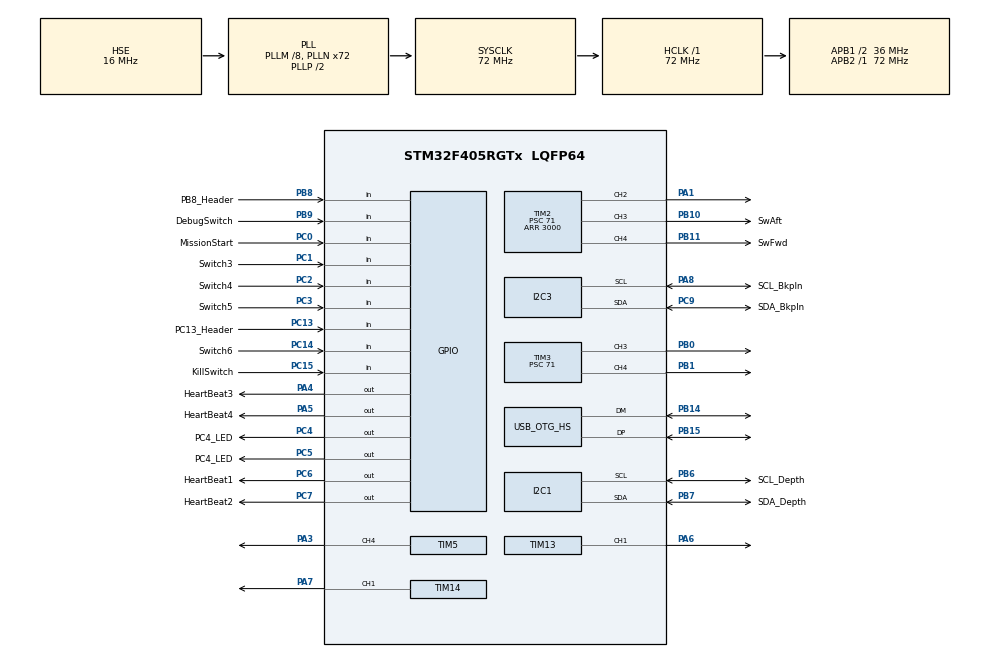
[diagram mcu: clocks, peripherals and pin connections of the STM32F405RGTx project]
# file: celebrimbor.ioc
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FREERTOS.Tasks01=defaultTask,0,128,StartDefaultTask,Default,NULL
Mcu.Family=STM32F4
Mcu.Name=STM32F405RGTx
Mcu.Package=LQFP64
NVIC.OTG_HS_IRQn=true\:5\:0\:false\:false\:true\:true\:false
NVIC.PriorityGroup=NVIC_PRIORITYGROUP_4
NVIC.TIM1_UP_TIM10_IRQn=true\:0\:0\:false\:false\:true\:false\:false
NVIC.TimeBase=TIM1_UP_TIM10_IRQn
NVIC.TimeBaseIP=TIM1
PA1.Signal=S_TIM2_CH2
PA13.Mode=JTAG_5_pins
PA13.Signal=SYS_JTMS-SWDIO
PA14.Mode=JTAG_5_pins
PA14.Signal=SYS_JTCK-SWCLK
PA15.Mode=JTAG_5_pins
PA15.Signal=SYS_JTDI
PA3.Signal=S_TIM5_CH4
PA4.GPIO_Label=HeartBeat3
PA4.Signal=GPIO_Output
PA5.GPIO_Label=HeartBeat4
PA5.Signal=GPIO_Output
PA6.Signal=S_TIM13_CH1
PA7.Signal=S_TIM14_CH1
PA8.GPIO_Label=SCL_Bkpln
PA8.Mode=I2C
PA8.Signal=I2C3_SCL
PB0.Signal=S_TIM3_CH3
PB1.Signal=S_TIM3_CH4
PB10.GPIO_Label=SwAft
PB10.Signal=S_TIM2_CH3
PB11.GPIO_Label=SwFwd
PB11.Signal=S_TIM2_CH4
PB14.Mode=Device_Only_FS
PB14.Signal=USB_OTG_HS_DM
PB15.Mode=Device_Only_FS
PB15.Signal=USB_OTG_HS_DP
PB3.Mode=JTAG_5_pins
PB3.Signal=SYS_JTDO-SWO
PB4.Mode=JTAG_5_pins
PB4.Signal=SYS_JTRST
PB6.GPIO_Label=SCL_Depth
PB6.Mode=I2C
PB6.Signal=I2C1_SCL
PB7.GPIO_Label=SDA_Depth
PB7.Mode=I2C
PB7.Signal=I2C1_SDA
PB8.GPIO_Label=PB8_Header
PB8.Signal=GPIO_Input
PB9.GPIO_Label=DebugSwitch
PB9.Signal=GPIO_Input
PC0.GPIO_Label=MissionStart
PC0.GPIO_PuPd=GPIO_PULLDOWN
PC0.Signal=GPIO_Input
PC1.GPIO_Label=Switch3
PC1.Signal=GPIO_Input
PC13-ANTI_TAMP.GPIO_Label=PC13_Header
PC13-ANTI_TAMP.Signal=GPIO_Input
PC14-OSC32_IN.GPIO_Label=Switch6
PC14-OSC32_IN.Signal=GPIO_Input
PC15-OSC32_OUT.GPIO_Label=KillSwitch
PC15-OSC32_OUT.Signal=GPIO_Input
PC2.GPIO_Label=Switch4
PC2.Signal=GPIO_Input
PC3.GPIO_Label=Switch5
PC3.Signal=GPIO_Input
PC4.GPIO_Label=PC4_LED
PC4.Signal=GPIO_Output
PC5.GPIO_Label=PC4_LED
PC5.Signal=GPIO_Output
PC6.GPIO_Label=HeartBeat1
PC6.Signal=GPIO_Output
PC7.GPIO_Label=HeartBeat2
PC7.Signal=GPIO_Output
PC9.GPIO_Label=SDA_Bkpln
PC9.Mode=I2C
PC9.Signal=I2C3_SDA
PH0-OSC_IN.Mode=HSE-External-Oscillator
PH0-OSC_IN.Signal=RCC_OSC_IN
PH1-OSC_OUT.Mode=HSE-External-Oscillator
PH1-OSC_OUT.Signal=RCC_OSC_OUT
ProjectManager.HeapSize=0x200
ProjectManager.StackSize=0x400
ProjectManager.TargetToolchain=TrueSTUDIO
RCC.48MHZClocksFreq_Value=48000000
RCC.AHBFreq_Value=72000000
RCC.APB1CLKDivider=RCC_HCLK_DIV2
RCC.APB1Freq_Value=36000000
RCC.APB1TimFreq_Value=72000000
RCC.APB2Freq_Value=72000000
RCC.APB2TimFreq_Value=72000000
RCC.CortexFreq_Value=72000000
RCC.HCLKFreq_Value=72000000
RCC.HSE_VALUE=16000000
RCC.HSI_VALUE=16000000
RCC.LSE_VALUE=32768
RCC.PLLM=8
RCC.PLLN=72
RCC.PLLQ=3
RCC.SYSCLKFreq_VALUE=72000000
RCC.SYSCLKSource=RCC_SYSCLKSOURCE_PLLCLK
RCC.VCOOutputFreq_Value=144000000
SH.S_TIM13_CH1.0=TIM13_CH1,PWM Generation1 CH1
SH.S_TIM14_CH1.0=TIM14_CH1,PWM Generation1 CH1
SH.S_TIM2_CH2.0=TIM2_CH2,PWM Generation2 CH2
SH.S_TIM2_CH3.0=TIM2_CH3,PWM Generation3 CH3
SH.S_TIM2_CH4.0=TIM2_CH4,PWM Generation4 CH4
SH.S_TIM3_CH3.0=TIM3_CH3,PWM Generation3 CH3
SH.S_TIM3_CH4.0=TIM3_CH4,PWM Generation4 CH4
SH.S_TIM5_CH4.0=TIM5_CH4,PWM Generation4 CH4
TIM13.Channel=TIM_CHANNEL_1
TIM13.Period=3000
TIM13.Prescaler=71
TIM13.Pulse=1500
TIM14.Channel=TIM_CHANNEL_1
TIM14.Period=3000
TIM14.Prescaler=71
TIM14.Pulse=1500
TIM2.Channel-PWM\ Generation2\ CH2=TIM_CHANNEL_2
TIM2.Channel-PWM\ Generation3\ CH3=TIM_CHANNEL_3
TIM2.Channel-PWM\ Generation4\ CH4=TIM_CHANNEL_4
TIM2.Period=3000
TIM2.Prescaler=71
TIM2.Pulse-PWM\ Generation2\ CH2=1500
TIM2.Pulse-PWM\ Generation3\ CH3=1500
TIM2.Pulse-PWM\ Generation4\ CH4=1500
TIM3.Channel-PWM\ Generation3\ CH3=TIM_CHANNEL_3
TIM3.Channel-PWM\ Generation4\ CH4=TIM_CHANNEL_4
TIM3.Period=3000
TIM3.Prescaler=71
TIM3.Pulse-PWM\ Generation3\ CH3=1500
TIM3.Pulse-PWM\ Generation4\ CH4=1500
TIM5.Channel-PWM\ Generation4\ CH4=TIM_CHANNEL_4
TIM5.Period=3000
TIM5.Prescaler=71
TIM5.Pulse-PWM\ Generation4\ CH4=1500
USB_DEVICE.CLASS_NAME_HS=CDC
USB_DEVICE.PRODUCT_STRING_CDC_HS=STM32Corpro
USB_DEVICE.VirtualMode-CDC_HS=Cdc
USB_DEVICE.VirtualModeHS=Cdc_HS
USB_OTG_HS.VirtualMode-Device_Only_FS=Device_Only_FS
VP_FREERTOS_VS_ENABLE.Mode=Enabled
VP_SYS_VS_tim1.Mode=TIM1
VP_TIM13_VS_ClockSourceINT.Mode=Enable_Timer
VP_TIM14_VS_ClockSourceINT.Mode=Enable_Timer
VP_USB_DEVICE_VS_USB_DEVICE_CDC_HS.Mode=CDC_HS
board=celebrimbor

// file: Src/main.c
/**
  ******************************************************************************
  * @file           : main.c
  * @brief          : Main program body
  ******************************************************************************
  * This notice applies to any and all portions of this file
  * that are not between comment pairs USER CODE BEGIN and
  * USER CODE END. Other portions of this file, whether
  * inserted by the user or by software development tools
  * are owned by their respective copyright owners.
  *
  * Copyright (c) 2018 STMicroelectronics International N.V.
  * All rights reserved.
  *
  * Redistribution and use in source and binary forms, with or without
  * modification, are permitted, provided that the following conditions are met:
  *
  * 1. Redistribution of source code must retain the above copyright notice,
  *    this list of conditions and the following disclaimer.
  * 2. Redistributions in binary form must reproduce the above copyright notice,
  *    this list of conditions and the following disclaimer in the documentation
  *    and/or other materials provided with the distribution.
  * 3. Neither the name of STMicroelectronics nor the names of other
  *    contributors to this software may be used to endorse or promote products
  *    derived from this software without specific written permission.
  * 4. This software, including modifications and/or derivative works of this
  *    software, must execute solely and exclusively on microcontroller or
  *    microprocessor devices manufactured by or for STMicroelectronics.
  * 5. Redistribution and use of this software other than as permitted under
  *    this license is void and will automatically terminate your rights under
  *    this license.
  *
  * THIS SOFTWARE IS PROVIDED BY STMICROELECTRONICS AND CONTRIBUTORS "AS IS"
  * AND ANY EXPRESS, IMPLIED OR STATUTORY WARRANTIES, INCLUDING, BUT NOT
  * LIMITED TO, THE IMPLIED WARRANTIES OF MERCHANTABILITY, FITNESS FOR A
  * PARTICULAR PURPOSE AND NON-INFRINGEMENT OF THIRD PARTY INTELLECTUAL PROPERTY
  * RIGHTS ARE DISCLAIMED TO THE FULLEST EXTENT PERMITTED BY LAW. IN NO EVENT
  * SHALL STMICROELECTRONICS OR CONTRIBUTORS BE LIABLE FOR ANY DIRECT, INDIRECT,
  * INCIDENTAL, SPECIAL, EXEMPLARY, OR CONSEQUENTIAL DAMAGES (INCLUDING, BUT NOT
  * LIMITED TO, PROCUREMENT OF SUBSTITUTE GOODS OR SERVICES; LOSS OF USE, DATA,
  * OR PROFITS; OR BUSINESS INTERRUPTION) HOWEVER CAUSED AND ON ANY THEORY OF
  * LIABILITY, WHETHER IN CONTRACT, STRICT LIABILITY, OR TORT (INCLUDING
  * NEGLIGENCE OR OTHERWISE) ARISING IN ANY WAY OUT OF THE USE OF THIS SOFTWARE,
  * EVEN IF ADVISED OF THE POSSIBILITY OF SUCH DAMAGE.
  *
  ******************************************************************************
  */
#include "main.h"
#include "stm32f4xx_hal.h"
#include "cmsis_os.h"
#include "usb_device.h"

/* USER CODE BEGIN Includes */
#include "riptideMain.h"
/* USER CODE END Includes */

I2C_HandleTypeDef hi2c1;
I2C_HandleTypeDef hi2c3;

TIM_HandleTypeDef htim2;
TIM_HandleTypeDef htim3;
TIM_HandleTypeDef htim5;
TIM_HandleTypeDef htim13;
TIM_HandleTypeDef htim14;

osThreadId defaultTaskHandle;

/* USER CODE BEGIN PV */
/* Private variables ---------------------------------------------------------*/
void writePWM(uint16_t * values);
/* USER CODE END PV */

void SystemClock_Config(void);
static void MX_GPIO_Init(void);
static void MX_TIM2_Init(void);
static void MX_TIM13_Init(void);
static void MX_TIM14_Init(void);
static void MX_I2C3_Init(void);
static void MX_I2C1_Init(void);
static void MX_TIM3_Init(void);
static void MX_TIM5_Init(void);
void StartDefaultTask(void const * argument);

void HAL_TIM_MspPostInit(TIM_HandleTypeDef *htim);

/* USER CODE BEGIN PFP */
/* Private function prototypes -----------------------------------------------*/

/* USER CODE END PFP */

int main(void)
{

  /* MCU Configuration----------------------------------------------------------*/

  /* Reset of all peripherals, Initializes the Flash interface and the Systick. */
  HAL_Init();

  /* Configure the system clock */
  SystemClock_Config();

  /* Initialize all configured peripherals */
  MX_GPIO_Init();
  MX_TIM2_Init();
  MX_TIM13_Init();
  MX_TIM14_Init();
  MX_I2C3_Init();
  MX_I2C1_Init();
  MX_TIM3_Init();
  MX_TIM5_Init();

  /* USER CODE BEGIN RTOS_TIMERS */
  HAL_TIM_PWM_Start(&htim2, TIM_CHANNEL_1);
  HAL_TIM_PWM_Start(&htim2, TIM_CHANNEL_2);
  HAL_TIM_PWM_Start(&htim2, TIM_CHANNEL_3);
  HAL_TIM_PWM_Start(&htim2, TIM_CHANNEL_4);
  HAL_TIM_PWM_Start(&htim3, TIM_CHANNEL_3);
  HAL_TIM_PWM_Start(&htim3, TIM_CHANNEL_4);
  HAL_TIM_PWM_Start(&htim5, TIM_CHANNEL_3);
  HAL_TIM_PWM_Start(&htim5, TIM_CHANNEL_4);
  HAL_TIM_PWM_Start(&htim13, TIM_CHANNEL_1);
  HAL_TIM_PWM_Start(&htim14, TIM_CHANNEL_1);
  /* USER CODE END RTOS_TIMERS */

  /* Create the thread(s) */
  /* definition and creation of defaultTask */
  osThreadDef(defaultTask, StartDefaultTask, osPriorityNormal, 0, 128);
  defaultTaskHandle = osThreadCreate(osThread(defaultTask), NULL);

  /* USER CODE BEGIN RTOS_THREADS */
  riptideMain();
  /* USER CODE END RTOS_THREADS */

  /* Start scheduler */
  osKernelStart();

  /* We should never get here as control is now taken by the scheduler */

  /* Infinite loop */
  while (1)
  {

  }

}

void SystemClock_Config(void)
{

  RCC_OscInitTypeDef RCC_OscInitStruct;
  RCC_ClkInitTypeDef RCC_ClkInitStruct;

    /**Configure the main internal regulator output voltage
    */
  __HAL_RCC_PWR_CLK_ENABLE();

  __HAL_PWR_VOLTAGESCALING_CONFIG(PWR_REGULATOR_VOLTAGE_SCALE1);

    /**Initializes the CPU, AHB and APB busses clocks
    */
  RCC_OscInitStruct.OscillatorType = RCC_OSCILLATORTYPE_HSE;
  RCC_OscInitStruct.HSEState = RCC_HSE_ON;
  RCC_OscInitStruct.PLL.PLLState = RCC_PLL_ON;
  RCC_OscInitStruct.PLL.PLLSource = RCC_PLLSOURCE_HSE;
  RCC_OscInitStruct.PLL.PLLM = 8;
  RCC_OscInitStruct.PLL.PLLN = 72;
  RCC_OscInitStruct.PLL.PLLP = RCC_PLLP_DIV2;
  RCC_OscInitStruct.PLL.PLLQ = 3;
  if (HAL_RCC_OscConfig(&RCC_OscInitStruct) != HAL_OK)
  {
    _Error_Handler(__FILE__, __LINE__);
  }

    /**Initializes the CPU, AHB and APB busses clocks
    */
  RCC_ClkInitStruct.ClockType = RCC_CLOCKTYPE_HCLK|RCC_CLOCKTYPE_SYSCLK
                              |RCC_CLOCKTYPE_PCLK1|RCC_CLOCKTYPE_PCLK2;
  RCC_ClkInitStruct.SYSCLKSource = RCC_SYSCLKSOURCE_PLLCLK;
  RCC_ClkInitStruct.AHBCLKDivider = RCC_SYSCLK_DIV1;
  RCC_ClkInitStruct.APB1CLKDivider = RCC_HCLK_DIV2;
  RCC_ClkInitStruct.APB2CLKDivider = RCC_HCLK_DIV1;

  if (HAL_RCC_ClockConfig(&RCC_ClkInitStruct, FLASH_LATENCY_2) != HAL_OK)
  {
    _Error_Handler(__FILE__, __LINE__);
  }

    /**Configure the Systick interrupt time
    */
  HAL_SYSTICK_Config(HAL_RCC_GetHCLKFreq()/1000);

    /**Configure the Systick
    */
  HAL_SYSTICK_CLKSourceConfig(SYSTICK_CLKSOURCE_HCLK);

  /* SysTick_IRQn interrupt configuration */
  HAL_NVIC_SetPriority(SysTick_IRQn, 15, 0);
}

/* I2C1 init function */
static void MX_I2C1_Init(void)
{

  hi2c1.Instance = I2C1;
  hi2c1.Init.ClockSpeed = 100000;
  hi2c1.Init.DutyCycle = I2C_DUTYCYCLE_2;
  hi2c1.Init.OwnAddress1 = 0;
  hi2c1.Init.AddressingMode = I2C_ADDRESSINGMODE_7BIT;
  hi2c1.Init.DualAddressMode = I2C_DUALADDRESS_DISABLE;
  hi2c1.Init.OwnAddress2 = 0;
  hi2c1.Init.GeneralCallMode = I2C_GENERALCALL_DISABLE;
  hi2c1.Init.NoStretchMode = I2C_NOSTRETCH_DISABLE;
  if (HAL_I2C_Init(&hi2c1) != HAL_OK)
  {
    _Error_Handler(__FILE__, __LINE__);
  }

}

/* I2C3 init function */
static void MX_I2C3_Init(void)
{

  hi2c3.Instance = I2C3;
  hi2c3.Init.ClockSpeed = 100000;
  hi2c3.Init.DutyCycle = I2C_DUTYCYCLE_2;
  hi2c3.Init.OwnAddress1 = 0;
  hi2c3.Init.AddressingMode = I2C_ADDRESSINGMODE_7BIT;
  hi2c3.Init.DualAddressMode = I2C_DUALADDRESS_DISABLE;
  hi2c3.Init.OwnAddress2 = 0;
  hi2c3.Init.GeneralCallMode = I2C_GENERALCALL_DISABLE;
  hi2c3.Init.NoStretchMode = I2C_NOSTRETCH_DISABLE;
  if (HAL_I2C_Init(&hi2c3) != HAL_OK)
  {
    _Error_Handler(__FILE__, __LINE__);
  }

}

/* TIM2 init function */
static void MX_TIM2_Init(void)
{

  TIM_MasterConfigTypeDef sMasterConfig;
  TIM_OC_InitTypeDef sConfigOC;

  htim2.Instance = TIM2;
  htim2.Init.Prescaler = 71;
  htim2.Init.CounterMode = TIM_COUNTERMODE_UP;
  htim2.Init.Period = 3000;
  htim2.Init.ClockDivision = TIM_CLOCKDIVISION_DIV1;
  if (HAL_TIM_PWM_Init(&htim2) != HAL_OK)
  {
    _Error_Handler(__FILE__, __LINE__);
  }

  sMasterConfig.MasterOutputTrigger = TIM_TRGO_RESET;
  sMasterConfig.MasterSlaveMode = TIM_MASTERSLAVEMODE_DISABLE;
  if (HAL_TIMEx_MasterConfigSynchronization(&htim2, &sMasterConfig) != HAL_OK)
  {
    _Error_Handler(__FILE__, __LINE__);
  }

  sConfigOC.OCMode = TIM_OCMODE_PWM1;
  sConfigOC.Pulse = 1500;
  sConfigOC.OCPolarity = TIM_OCPOLARITY_HIGH;
  sConfigOC.OCFastMode = TIM_OCFAST_DISABLE;
  if (HAL_TIM_PWM_ConfigChannel(&htim2, &sConfigOC, TIM_CHANNEL_2) != HAL_OK)
  {
    _Error_Handler(__FILE__, __LINE__);
  }

  if (HAL_TIM_PWM_ConfigChannel(&htim2, &sConfigOC, TIM_CHANNEL_3) != HAL_OK)
  {
    _Error_Handler(__FILE__, __LINE__);
  }

  if (HAL_TIM_PWM_ConfigChannel(&htim2, &sConfigOC, TIM_CHANNEL_4) != HAL_OK)
  {
    _Error_Handler(__FILE__, __LINE__);
  }

  HAL_TIM_MspPostInit(&htim2);

}

/* TIM3 init function */
static void MX_TIM3_Init(void)
{

  TIM_MasterConfigTypeDef sMasterConfig;
  TIM_OC_InitTypeDef sConfigOC;

  htim3.Instance = TIM3;
  htim3.Init.Prescaler = 71;
  htim3.Init.CounterMode = TIM_COUNTERMODE_UP;
  htim3.Init.Period = 3000;
  htim3.Init.ClockDivision = TIM_CLOCKDIVISION_DIV1;
  if (HAL_TIM_PWM_Init(&htim3) != HAL_OK)
  {
    _Error_Handler(__FILE__, __LINE__);
  }

  sMasterConfig.MasterOutputTrigger = TIM_TRGO_RESET;
  sMasterConfig.MasterSlaveMode = TIM_MASTERSLAVEMODE_DISABLE;
  if (HAL_TIMEx_MasterConfigSynchronization(&htim3, &sMasterConfig) != HAL_OK)
  {
    _Error_Handler(__FILE__, __LINE__);
  }

  sConfigOC.OCMode = TIM_OCMODE_PWM1;
  sConfigOC.Pulse = 1500;
  sConfigOC.OCPolarity = TIM_OCPOLARITY_HIGH;
  sConfigOC.OCFastMode = TIM_OCFAST_DISABLE;
  if (HAL_TIM_PWM_ConfigChannel(&htim3, &sConfigOC, TIM_CHANNEL_3) != HAL_OK)
  {
    _Error_Handler(__FILE__, __LINE__);
  }

  if (HAL_TIM_PWM_ConfigChannel(&htim3, &sConfigOC, TIM_CHANNEL_4) != HAL_OK)
  {
    _Error_Handler(__FILE__, __LINE__);
  }

  HAL_TIM_MspPostInit(&htim3);

}

/* TIM5 init function */
static void MX_TIM5_Init(void)
{

  TIM_MasterConfigTypeDef sMasterConfig;
  TIM_OC_InitTypeDef sConfigOC;

  htim5.Instance = TIM5;
  htim5.Init.Prescaler = 71;
  htim5.Init.CounterMode = TIM_COUNTERMODE_UP;
  htim5.Init.Period = 3000;
  htim5.Init.ClockDivision = TIM_CLOCKDIVISION_DIV1;
  if (HAL_TIM_PWM_Init(&htim5) != HAL_OK)
  {
    _Error_Handler(__FILE__, __LINE__);
  }

  sMasterConfig.MasterOutputTrigger = TIM_TRGO_RESET;
  sMasterConfig.MasterSlaveMode = TIM_MASTERSLAVEMODE_DISABLE;
  if (HAL_TIMEx_MasterConfigSynchronization(&htim5, &sMasterConfig) != HAL_OK)
  {
    _Error_Handler(__FILE__, __LINE__);
  }

  sConfigOC.OCMode = TIM_OCMODE_PWM1;
  sConfigOC.Pulse = 1500;
  sConfigOC.OCPolarity = TIM_OCPOLARITY_HIGH;
  sConfigOC.OCFastMode = TIM_OCFAST_DISABLE;
  if (HAL_TIM_PWM_ConfigChannel(&htim5, &sConfigOC, TIM_CHANNEL_4) != HAL_OK)
  {
    _Error_Handler(__FILE__, __LINE__);
  }

  HAL_TIM_MspPostInit(&htim5);

}

/* TIM13 init function */
static void MX_TIM13_Init(void)
{

  TIM_OC_InitTypeDef sConfigOC;

  htim13.Instance = TIM13;
  htim13.Init.Prescaler = 71;
  htim13.Init.CounterMode = TIM_COUNTERMODE_UP;
  htim13.Init.Period = 3000;
  htim13.Init.ClockDivision = TIM_CLOCKDIVISION_DIV1;
  if (HAL_TIM_Base_Init(&htim13) != HAL_OK)
  {
    _Error_Handler(__FILE__, __LINE__);
  }

  if (HAL_TIM_PWM_Init(&htim13) != HAL_OK)
  {
    _Error_Handler(__FILE__, __LINE__);
  }

  sConfigOC.OCMode = TIM_OCMODE_PWM1;
  sConfigOC.Pulse = 1500;
  sConfigOC.OCPolarity = TIM_OCPOLARITY_HIGH;
  sConfigOC.OCFastMode = TIM_OCFAST_DISABLE;
  if (HAL_TIM_PWM_ConfigChannel(&htim13, &sConfigOC, TIM_CHANNEL_1) != HAL_OK)
  {
    _Error_Handler(__FILE__, __LINE__);
  }

  HAL_TIM_MspPostInit(&htim13);

}

/* TIM14 init function */
static void MX_TIM14_Init(void)
{

  TIM_OC_InitTypeDef sConfigOC;

  htim14.Instance = TIM14;
  htim14.Init.Prescaler = 71;
  htim14.Init.CounterMode = TIM_COUNTERMODE_UP;
  htim14.Init.Period = 3000;
  htim14.Init.ClockDivision = TIM_CLOCKDIVISION_DIV1;
  if (HAL_TIM_Base_Init(&htim14) != HAL_OK)
  {
    _Error_Handler(__FILE__, __LINE__);
  }

  if (HAL_TIM_PWM_Init(&htim14) != HAL_OK)
  {
    _Error_Handler(__FILE__, __LINE__);
  }

  sConfigOC.OCMode = TIM_OCMODE_PWM1;
  sConfigOC.Pulse = 1500;
  sConfigOC.OCPolarity = TIM_OCPOLARITY_HIGH;
  sConfigOC.OCFastMode = TIM_OCFAST_DISABLE;
  if (HAL_TIM_PWM_ConfigChannel(&htim14, &sConfigOC, TIM_CHANNEL_1) != HAL_OK)
  {
    _Error_Handler(__FILE__, __LINE__);
  }

  HAL_TIM_MspPostInit(&htim14);

}

/** Configure pins as
        * Analog
        * Input
        * Output
        * EVENT_OUT
        * EXTI
*/
static void MX_GPIO_Init(void)
{

  GPIO_InitTypeDef GPIO_InitStruct;

  /* GPIO Ports Clock Enable */
  __HAL_RCC_GPIOC_CLK_ENABLE();
  __HAL_RCC_GPIOH_CLK_ENABLE();
  __HAL_RCC_GPIOA_CLK_ENABLE();
  __HAL_RCC_GPIOB_CLK_ENABLE();

  /*Configure GPIO pin Output Level */
  HAL_GPIO_WritePin(GPIOA, HeartBeat3_Pin|HeartBeat4_Pin, GPIO_PIN_RESET);

  /*Configure GPIO pin Output Level */
  HAL_GPIO_WritePin(GPIOC, PC4_LED_Pin|PC4_LEDC5_Pin|HeartBeat1_Pin|HeartBeat2_Pin, GPIO_PIN_RESET);

  /*Configure GPIO pins : PC13_Header_Pin Switch6_Pin KillSwitch_Pin Switch3_Pin
                           Switch4_Pin Switch5_Pin */
  GPIO_InitStruct.Pin = PC13_Header_Pin|Switch6_Pin|KillSwitch_Pin|Switch3_Pin
                          |Switch4_Pin|Switch5_Pin;
  GPIO_InitStruct.Mode = GPIO_MODE_INPUT;
  GPIO_InitStruct.Pull = GPIO_NOPULL;
  HAL_GPIO_Init(GPIOC, &GPIO_InitStruct);

  /*Configure GPIO pin : MissionStart_Pin */
  GPIO_InitStruct.Pin = MissionStart_Pin;
  GPIO_InitStruct.Mode = GPIO_MODE_INPUT;
  GPIO_InitStruct.Pull = GPIO_PULLDOWN;
  HAL_GPIO_Init(MissionStart_GPIO_Port, &GPIO_InitStruct);

  /*Configure GPIO pins : HeartBeat3_Pin HeartBeat4_Pin */
  GPIO_InitStruct.Pin = HeartBeat3_Pin|HeartBeat4_Pin;
  GPIO_InitStruct.Mode = GPIO_MODE_OUTPUT_PP;
  GPIO_InitStruct.Pull = GPIO_NOPULL;
  GPIO_InitStruct.Speed = GPIO_SPEED_FREQ_LOW;
  HAL_GPIO_Init(GPIOA, &GPIO_InitStruct);

  /*Configure GPIO pins : PC4_LED_Pin PC4_LEDC5_Pin HeartBeat1_Pin HeartBeat2_Pin */
  GPIO_InitStruct.Pin = PC4_LED_Pin|PC4_LEDC5_Pin|HeartBeat1_Pin|HeartBeat2_Pin;
  GPIO_InitStruct.Mode = GPIO_MODE_OUTPUT_PP;
  GPIO_InitStruct.Pull = GPIO_NOPULL;
  GPIO_InitStruct.Speed = GPIO_SPEED_FREQ_LOW;
  HAL_GPIO_Init(GPIOC, &GPIO_InitStruct);

  /*Configure GPIO pins : PB8_Header_Pin DebugSwitch_Pin */
  GPIO_InitStruct.Pin = PB8_Header_Pin|DebugSwitch_Pin;
  GPIO_InitStruct.Mode = GPIO_MODE_INPUT;
  GPIO_InitStruct.Pull = GPIO_NOPULL;
  HAL_GPIO_Init(GPIOB, &GPIO_InitStruct);

}

/* USER CODE BEGIN 4 */
void writePWM(uint16_t * values) {
	  // I wrote this at 1 am, there is a good chance the order or something is wrong
	  //htim2.Instance->CCR1 = values[0];
	  //htim5.Instance->CCR3 = values[1];
	  htim5.Instance->CCR4 = values[0];
	  htim2.Instance->CCR2 = values[1];
	  htim2.Instance->CCR4 = values[2];
	  htim2.Instance->CCR3 = values[3];
	  htim3.Instance->CCR4 = values[4];
	  htim14.Instance->CCR1 = values[5];
	  htim13.Instance->CCR1 = values[6];
	  htim3.Instance->CCR3 = values[7];
}

void resetPWM() {
	  //htim2.Instance->CCR1 = 1500;
	  //htim5.Instance->CCR3 = 1500;
	  htim5.Instance->CCR4 = 1500;
	  htim2.Instance->CCR2 = 1500;
	  htim2.Instance->CCR4 = 1500;
	  htim2.Instance->CCR3 = 1500;
	  htim3.Instance->CCR4 = 1500;
	  htim14.Instance->CCR1 = 1500;
	  htim13.Instance->CCR1 = 1500;
	  htim3.Instance->CCR3 = 1500;
}

I2C_HandleTypeDef* getI2CRef() {
	return &hi2c1;
}
/* USER CODE END 4 */

/* StartDefaultTask function */
void StartDefaultTask(void const * argument)
{
  /* init code for USB_DEVICE */
  MX_USB_DEVICE_Init();

  for(;;)
  {
    osDelay(1);
  }
}

void HAL_TIM_PeriodElapsedCallback(TIM_HandleTypeDef *htim)
{
  if (htim->Instance == TIM1) {
    HAL_IncTick();
  }
}

void _Error_Handler(char *file, int line)
{
  while(1)
  {
  }
}

/************************ (C) COPYRIGHT STMicroelectronics *****END OF FILE****/
